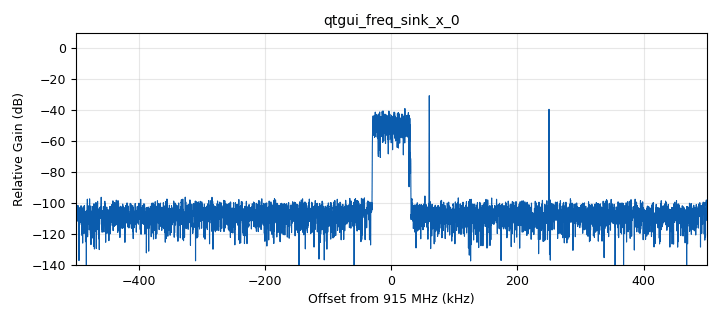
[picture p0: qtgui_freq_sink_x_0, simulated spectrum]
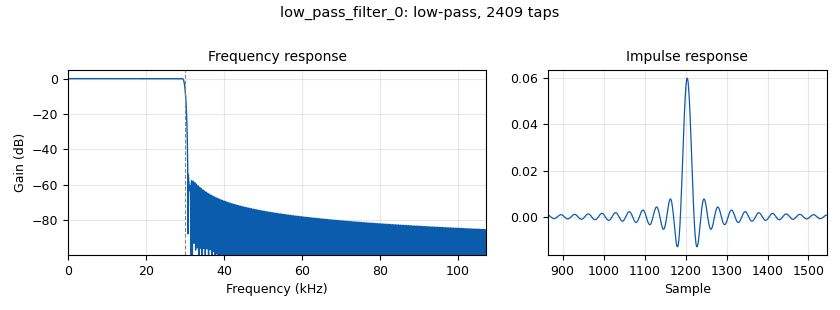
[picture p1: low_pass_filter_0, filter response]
options:
  parameters:
    author: Muad'Dib
    generate_options: qt_gui
    id: iq_recorder_tutorial
    output_language: python
    title: PUSH-BUTTON I/Q RECORDER
  states: {}

blocks:
- name: bandwidth
  id: variable_qtgui_range
  parameters:
    label: Bandwidth
    start: 200e3
    step: 500e3
    stop: 56e6
    value: 3e6
  states: {}
- name: filename
  id: variable
  parameters:
    comment: |-
      creates full path to IQ recording
      and adds timestamp and the 
      'note' variable to the filename
    value: rootdir+record_file_path+note+"_"+str(int(freq))+"Hz_"+str(int(samp_rate))+"sps_"+str(int(gain))+"dB_"
  states: {}
- name: freq
  id: variable_qtgui_range
  parameters:
    label: Frequency
    start: 64e6
    step: 1000e3
    stop: 6e9
    value: 915e6
  states: {}
- name: gain
  id: variable_qtgui_range
  parameters:
    label: RX Gain
    start: '0'
    step: '1'
    stop: '76'
    value: '50'
  states: {}
- name: lo_off
  id: variable
  parameters:
    value: samp_rate/2
  states: {}
- name: note
  id: variable_qtgui_entry
  parameters:
    gui_hint: 1,1,1,2
    label: RECORDING NOTE (press enter to update)
    type: string
    value: RECORDING_NOTE
  states: {}
- name: rec_button
  id: variable_qtgui_push_button
  parameters:
    gui_hint: 1,3,1,1
    label: RECORD
    pressed: '1'
    released: '0'
    type: int
    value: '0'
  states: {}
- name: record_file_path
  id: variable
  parameters:
    comment: set path to IQ recording directory
    value: '"data/iq_captures/"'
  states: {}
- name: rootdir
  id: variable
  parameters:
    comment: defaults to your users home directory
    value: str(os.path.expanduser("~")+"/")
  states: {}
- name: samp_rate
  id: variable_qtgui_range
  parameters:
    label: Sample Rate
    start: 100e3
    step: 500e3
    stop: 56e6
    value: 1000e3
  states: {}
- name: analog_noise_source_x_0
  id: analog_noise_source_x
  parameters:
    amp: '0.8'
    noise_type: analog.GR_GAUSSIAN
    seed: '0'
    type: complex
  states: {}
- name: analog_noise_source_x_0_0
  id: analog_noise_source_x
  parameters:
    amp: '0.001'
    noise_type: analog.GR_GAUSSIAN
    seed: '0'
    type: complex
  states: {}
- name: analog_sig_source_x_0
  id: analog_sig_source_x
  parameters:
    amp: '0.2'
    freq: 250e3
    offset: '0'
    phase: '0'
    samp_rate: samp_rate
    type: complex
    waveform: analog.GR_COS_WAVE
  states: {}
- name: analog_sig_source_x_0_0
  id: analog_sig_source_x
  parameters:
    amp: '.15'
    freq: 60e3
    offset: '0'
    phase: '0'
    samp_rate: samp_rate
    type: complex
    waveform: analog.GR_COS_WAVE
  states: {}
- name: analog_sig_source_x_0_0_0
  id: analog_sig_source_x
  parameters:
    amp: '0.6'
    freq: '0.25'
    offset: '0'
    phase: '0'
    samp_rate: samp_rate
    type: complex
    waveform: analog.GR_SQR_WAVE
  states: {}
- name: analog_sig_source_x_0_0_0_0
  id: analog_sig_source_x
  parameters:
    amp: '0.15'
    freq: '0.4'
    offset: '0'
    phase: '0'
    samp_rate: samp_rate
    type: complex
    waveform: analog.GR_SQR_WAVE
  states: {}
- name: blocks_add_xx_0_0
  id: blocks_add_xx
  parameters:
    num_inputs: '4'
    type: complex
  states: {}
- name: blocks_file_sink_0
  id: blocks_file_sink
  parameters:
    file: filename+str(datetime.fromtimestamp(time.time()).strftime('%Y_%m_%d_%H_%M_%S'))+".cfile" if rec_button == 1 else "/dev/null"
    type: complex
  states: {}
- name: blocks_multiply_xx_0
  id: blocks_multiply_xx
  parameters:
    type: complex
  states: {}
- name: blocks_multiply_xx_0_0
  id: blocks_multiply_xx
  parameters:
    type: complex
  states: {}
- name: blocks_throttle_0
  id: blocks_throttle
  parameters:
    samples_per_second: samp_rate
    type: complex
  states: {}
- name: import_datetime
  id: import
  parameters:
    imports: from datetime import datetime
  states: {}
- name: import_os
  id: import
  parameters:
    imports: import os
  states: {}
- name: import_time
  id: import
  parameters:
    imports: import time
  states: {}
- name: low_pass_filter_0
  id: low_pass_filter
  parameters:
    cutoff_freq: 30e3
    gain: '1'
    interp: '1'
    samp_rate: samp_rate
    type: interp_fir_filter_ccf
    width: 1e3
    win: window.WIN_HAMMING
  states: {}
- name: qtgui_freq_sink_x_0
  id: qtgui_freq_sink_x
  parameters:
    bw: samp_rate
    fc: freq
    fftsize: '8192'
    gui_hint: 2,0,5,4
    showports: 'True'
    type: complex
    update_time: '0.05'
  states: {}
- name: qtgui_ledindicator_0
  id: qtgui_ledindicator
  parameters:
    gui_hint: 0,3,1,1
    label: '"RED=RECORDING"'
    offColor: green
    onColor: red
    position: '2'
    state: True if rec_button == 1 else False
  states: {}

connections:
- [analog_noise_source_x_0, '0', low_pass_filter_0, '0']
- [analog_noise_source_x_0_0, '0', blocks_add_xx_0_0, '0']
- [analog_sig_source_x_0, '0', blocks_multiply_xx_0_0, '0']
- [analog_sig_source_x_0_0, '0', blocks_multiply_xx_0, '0']
- [analog_sig_source_x_0_0_0, '0', blocks_multiply_xx_0, '1']
- [analog_sig_source_x_0_0_0_0, '0', blocks_multiply_xx_0_0, '1']
- [blocks_add_xx_0_0, '0', blocks_throttle_0, '0']
- [blocks_multiply_xx_0, '0', blocks_add_xx_0_0, '2']
- [blocks_multiply_xx_0_0, '0', blocks_add_xx_0_0, '1']
- [blocks_throttle_0, '0', blocks_file_sink_0, '0']
- [blocks_throttle_0, '0', qtgui_freq_sink_x_0, '0']
- [low_pass_filter_0, '0', blocks_add_xx_0_0, '3']

metadata:
  file_format: 1
  grc_version: 3.10.3.0
